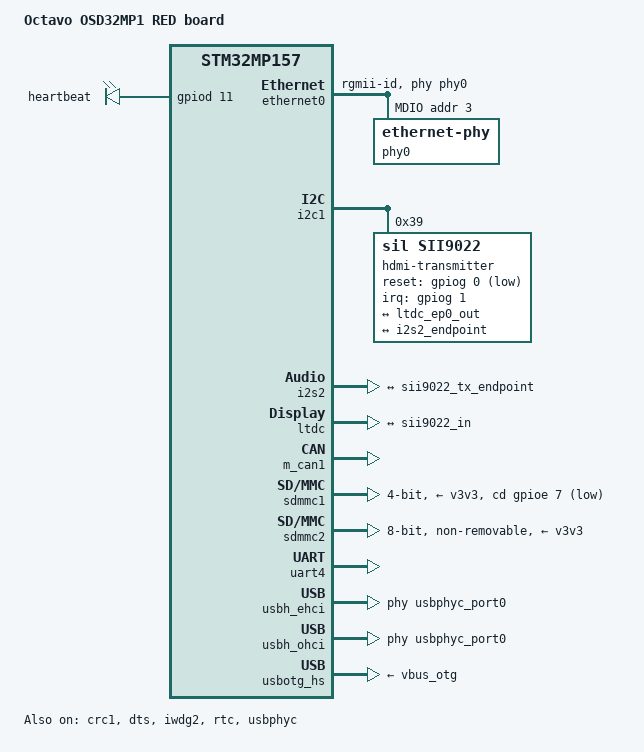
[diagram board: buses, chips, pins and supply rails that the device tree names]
// SPDX-License-Identifier: (GPL-2.0+ OR BSD-3-Clause)
/*
 * Copyright (C) Geanix ApS 2023 - All Rights Reserved
 * Author: Sean Nyekjaer <sean@geanix.com>
 */

/dts-v1/;

#include "stm32mp157.dtsi"
#include "stm32mp15xc.dtsi"
#include "stm32mp15xx-osd32.dtsi"
#include "stm32mp15xxac-pinctrl.dtsi"

#include <dt-bindings/gpio/gpio.h>
#include <dt-bindings/pinctrl/stm32-pinfunc.h>

/ {
	model = "Octavo OSD32MP1 RED board";
	compatible = "oct,stm32mp157c-osd32-red", "oct,stm32mp15xx-osd32", "st,stm32mp157";

	aliases {
		serial0 = &uart4;
	};

	chosen {
		stdout-path = "serial0:115200n8";
	};

	led-controller-0 {
		compatible = "gpio-leds";

		led-0 {
			label = "heartbeat";
			gpios = <&gpiod 11 GPIO_ACTIVE_HIGH>;
			linux,default-trigger = "heartbeat";
		};
	};
};

&crc1 {
	status = "okay";
};

&dts {
	status = "okay";
};

&ethernet0 {
	pinctrl-names = "default", "sleep";
	pinctrl-0 = <&ethernet0_rgmii_pins_a>;
	pinctrl-1 = <&ethernet0_rgmii_sleep_pins_a>;
	phy-mode = "rgmii-id";
	max-speed = <1000>;
	phy-handle = <&phy0>;
	st,eth-clk-sel;
	status = "okay";

	mdio {
		compatible = "snps,dwmac-mdio";
		#address-cells = <1>;
		#size-cells = <0>;

		phy0: ethernet-phy@3 {
			reg = <3>;
		};
	};
};

&iwdg2 {
	timeout-sec = <32>;
	status = "okay";
};

&i2c1 {
	pinctrl-names = "default", "sleep";
	pinctrl-0 = <&i2c1_pins_a>;
	pinctrl-1 = <&i2c1_sleep_pins_a>;
	status = "okay";
	i2c-scl-rising-time-ns = <100>;
	i2c-scl-falling-time-ns = <7>;
	/* spare dmas for other usage */
	/delete-property/dmas;
	/delete-property/dma-names;

	hdmi-transmitter@39 {
		compatible = "sil,sii9022";
		reg = <0x39>;
		reset-gpios = <&gpiog 0 GPIO_ACTIVE_LOW>;
		interrupts = <1 IRQ_TYPE_EDGE_FALLING>;
		interrupt-parent = <&gpiog>;
		pinctrl-names = "default", "sleep";
		pinctrl-0 = <&ltdc_pins_e>;
		pinctrl-1 = <&ltdc_sleep_pins_e>;

		ports {
			#address-cells = <1>;
			#size-cells = <0>;

			port@0 {
				reg = <0>;
				sii9022_in: endpoint {
					remote-endpoint = <&ltdc_ep0_out>;
				};
			};

			port@3 {
				reg = <3>;
				sii9022_tx_endpoint: endpoint {
					remote-endpoint = <&i2s2_endpoint>;
				};
			};
		};
	};
};

&i2s2 {
	clocks = <&rcc SPI2>, <&rcc SPI2_K>, <&rcc CK_PER>, <&rcc PLL3_R>;
	clock-names = "pclk", "i2sclk", "x8k", "x11k";
	pinctrl-names = "default", "sleep";
	pinctrl-0 = <&i2s2_pins_b>;
	pinctrl-1 = <&i2s2_sleep_pins_b>;
	status = "okay";

	i2s2_port: port {
		i2s2_endpoint: endpoint {
			remote-endpoint = <&sii9022_tx_endpoint>;
			dai-format = "i2s";
			mclk-fs = <256>;
		};
	};
};

&ltdc {
	status = "okay";

	port {
		ltdc_ep0_out: endpoint {
			remote-endpoint = <&sii9022_in>;
		};
	};
};

&m_can1 {
	pinctrl-names = "default", "sleep";
	pinctrl-0 = <&m_can1_pins_d>;
	pinctrl-1 = <&m_can1_sleep_pins_d>;
	status = "okay";
};

&pwr_regulators {
	vdd-supply = <&vdd>;
	vdd_3v3_usbfs-supply = <&vdd_usb>;
};

&rtc {
	status = "okay";
};

&sdmmc1 {
	pinctrl-names = "default", "opendrain", "sleep";
	pinctrl-0 = <&sdmmc1_b4_pins_a>;
	pinctrl-1 = <&sdmmc1_b4_od_pins_a>;
	pinctrl-2 = <&sdmmc1_b4_sleep_pins_a>;
	cd-gpios = <&gpioe 7 (GPIO_ACTIVE_LOW | GPIO_PULL_UP)>;
	disable-wp;
	st,neg-edge;
	bus-width = <4>;
	vmmc-supply = <&v3v3>;
	status = "okay";
};

&sdmmc2 {
	pinctrl-names = "default", "opendrain", "sleep";
	pinctrl-0 = <&sdmmc2_b4_pins_a &sdmmc2_d47_pins_d>;
	pinctrl-1 = <&sdmmc2_b4_od_pins_a>;
	pinctrl-2 = <&sdmmc2_b4_sleep_pins_a &sdmmc2_d47_sleep_pins_d>;
	non-removable;
	no-sd;
	no-sdio;
	st,neg-edge;
	bus-width = <8>;
	vmmc-supply = <&v3v3>;
	vqmmc-supply = <&vdd>;
	mmc-ddr-3_3v;
	status = "okay";
};

&uart4 {
	pinctrl-names = "default", "sleep", "idle";
	pinctrl-0 = <&uart4_pins_a>;
	pinctrl-1 = <&uart4_sleep_pins_a>;
	pinctrl-2 = <&uart4_idle_pins_a>;
	/* spare dmas for other usage */
	/delete-property/dmas;
	/delete-property/dma-names;
	status = "okay";
};

&usbh_ehci {
	phys = <&usbphyc_port0>;
	phy-names = "usb";
	status = "okay";
};

&usbh_ohci {
	phys = <&usbphyc_port0>;
	phy-names = "usb";
	status = "okay";
};

&usbotg_hs {
	vbus-supply = <&vbus_otg>;
};

&usbphyc {
	status = "okay";
};

&usbphyc_port0 {
	phy-supply = <&vdd_usb>;
};

&usbphyc_port1 {
	phy-supply = <&vdd_usb>;
};
